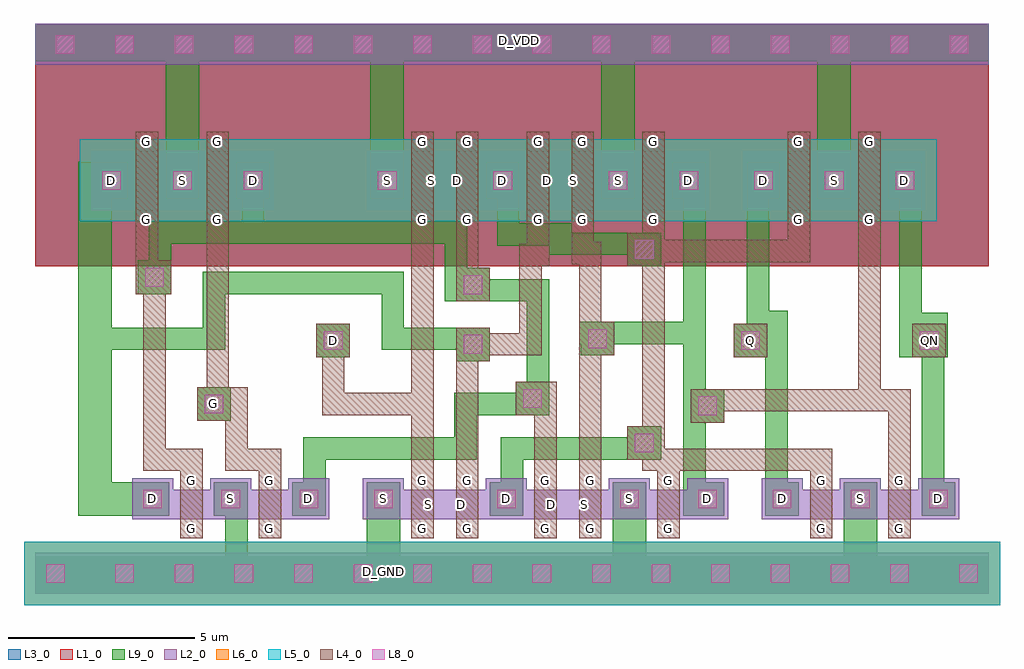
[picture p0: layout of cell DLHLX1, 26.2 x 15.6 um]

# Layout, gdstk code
import gdstk
lib = gdstk.Library(unit=1e-6, precision=1e-09)
def R(c, l, rs):  # rectangles x0, y0, x1, y1
    for r in rs: c.add(gdstk.rectangle(r[:2], r[2:], *l))
def A(c, l, x, y, w, h, nx, ny, dx, dy):  # array of equal rectangles
    R(c, l, [(x+i*dx, y+j*dy, x+i*dx+w, y+j*dy+h) for i in range(nx) for j in range(ny)])
def P(c, l, *ps):  # polygons
    for p in ps: c.add(gdstk.Polygon(p, *l))
L1_0 = (1, 0)
L2_0 = (2, 0)
L3_0 = (3, 0)
L4_0 = (4, 0)
L5_0 = (5, 0)
L6_0 = (6, 0)
L8_0 = (8, 0)
L9_0 = (9, 0)

grid_pmos_end = lib.new_cell('GRID_PMOS_END')
R(grid_pmos_end, L2_0, [(-0.55,-0.55,0.55,0.55)])
R(grid_pmos_end, L5_0, [(-0.85,-0.85,0.85,0.85)])
R(grid_pmos_end, L6_0, [(-0.85,-0.85,0.85,0.85)])
R(grid_pmos_end, L8_0, [(-0.25,-0.25,0.25,0.25)])
R(grid_pmos_end, L9_0, [(-0.55,-0.55,0.55,0.45)])

dlhlx1 = lib.new_cell('DLHLX1')
A(dlhlx1, L1_0, -1.6, 8.8, 1.6, 6.5, 16, 1, 1.6, 0)
R(dlhlx1, L1_0, [(-1.6,8.8,4.4,13.4), (0.3,8.8,6.3,13.4), (5.8,8.8,11.8,13.4), (7,8.8,13,13.4), (8.9,8.8,14.9,13.4), (10.1,8.8,16.1,13.4), (12,8.8,18,13.4), (15.9,8.8,21.9,13.4), (17.8,8.8,23.8,13.4)])
A(dlhlx1, L2_0, -1.6, 0, 1.6, 1.1, 16, 2, 1.6, 14.2)
R(dlhlx1, L2_0, [(1,2,2.1,3.1), (2.1,2,3.1,2.8), (3.1,2,4.2,3.1), (3.1,2,4.2,3.1), (4.2,2,5.2,2.8), (5.2,2,6.3,3.1), (7.2,2,8.3,3.1), (8.3,2,9.3,2.8), (8.4,2,9.5,2.8), (9.3,2,10.4,2.8), (9.5,2,10.5,2.8), (10.5,2,11.6,3.1), (10.5,2,11.6,3.1), (11.6,2,12.6,2.8), (11.7,2,12.8,2.8), (12.6,2,13.7,2.8), (12.8,2,13.8,2.8), (13.8,2,14.9,3.1), (13.8,2,14.9,3.1), (14.9,2,15.9,2.8), (15.9,2,17,3.1), (17.9,2,19,3.1), (19,2,20,2.8), (20,2,21.1,3.1), (20,2,21.1,3.1), (21.1,2,22.1,2.8), (22.1,2,23.2,3.1), (-0.1,10.3,1,11.9), (1,10.3,1.8,11.9), (1.8,10.3,2.9,11.9), (1.8,10.3,2.9,11.9), (2.9,10.3,3.7,11.9), (3.7,10.3,4.8,11.9), (7.3,10.3,8.4,11.9), (8.4,10.3,9.2,11.9), (8.5,10.3,9.6,11.9), (9.2,10.3,10.3,11.9), (9.6,10.3,10.4,11.9), (10.4,10.3,11.5,11.9), (10.4,10.3,11.5,11.9), (11.5,10.3,12.3,11.9), (11.6,10.3,12.7,11.9), (12.3,10.3,13.4,11.9), (12.7,10.3,13.5,11.9), (13.5,10.3,14.6,11.9), (13.5,10.3,14.6,11.9), (14.6,10.3,15.4,11.9), (15.4,10.3,16.5,11.9), (17.4,10.3,18.5,11.9), (18.5,10.3,19.3,11.9), (19.3,10.3,20.4,11.9), (19.3,10.3,20.4,11.9), (20.4,10.3,21.2,11.9), (21.2,10.3,22.3,11.9)])
A(dlhlx1, L3_0, -1.6, 8.8, 1.6, 6.5, 16, 1, 1.6, 0)
R(dlhlx1, L3_0, [(-1.6,8.8,4.4,13.4), (0.3,8.8,6.3,13.4), (5.8,8.8,11.8,13.4), (7,8.8,13,13.4), (8.9,8.8,14.9,13.4), (10.1,8.8,16.1,13.4), (12,8.8,18,13.4), (15.9,8.8,21.9,13.4), (17.8,8.8,23.8,13.4)])
R(dlhlx1, L4_0, [(2.3,1.5,2.9,3.3), (2.3,1.5,2.9,2), (4.4,1.5,5,3.3), (4.4,1.5,5,2), (8.5,1.5,9.1,3.3), (8.5,1.5,9.1,2), (9.7,1.5,10.3,3.3), (9.7,1.5,10.3,2), (11.8,1.5,12.4,3.3), (11.8,1.5,12.4,2), (13,1.5,13.6,3.3), (13,1.5,13.6,2), (15.1,1.5,15.7,3.3), (15.1,1.5,15.7,2), (19.2,1.5,19.8,3.3), (19.2,1.5,19.8,2), (21.3,1.5,21.9,3.3), (21.3,1.5,21.9,2), (8.5,2.5,9.1,10.3), (15.1,2.5,15.7,3.85), (13,2.7,13.6,9.45), (21.3,2.75,21.9,5.5), (2.3,2.8,2.9,3.3), (4.4,2.8,5,3.3), (8.5,2.8,9.1,3.3), (9.7,2.8,10.3,3.3), (11.8,2.8,12.4,3.3), (13,2.8,13.6,3.3), (15.1,2.8,15.7,3.3), (19.2,2.8,19.8,3.3), (21.3,2.8,21.9,3.3), (1.3,3.3,2.9,3.9), (1.3,3.3,1.9,8.8), (14.7,3.3,15.3,6.95), (14.3,3.6,15.2,4.5), (16,4.6,16.9,5.5), (2.75,4.65,3.65,5.55), (3,4.8,3.6,10.4), (11.3,4.8,12.2,5.7), (16,4.9,21.9,5.5), (20.5,4.9,21.1,6.55), (14.7,5.85,15.3,10.3), (20.5,5.9,21.1,10.2), (9.7,6.25,10.6,7.15), (5.95,6.35,6.85,7.25), (17.15,6.35,18.05,7.25), (21.95,6.35,22.85,7.25), (13.05,6.4,13.95,7.3), (9.7,7.85,10.6,8.75), (9.7,7.85,10.3,10.2), (1.1,8.05,1.7,10.1), (1.15,8.05,2.05,8.95), (11.6,8.8,12.2,10.05), (14.3,8.8,15.2,9.7), (12.8,8.85,13.4,9.8), (12.8,9.15,13.4,10.1), (1.1,9.8,1.7,10.3), (1.1,9.8,1.7,12.4), (3,9.8,3.6,10.3), (3,9.8,3.6,12.4), (8.5,9.8,9.1,10.3), (8.5,9.8,9.1,12.4), (9.7,9.8,10.3,10.3), (9.7,9.8,10.3,12.4), (11.6,9.8,12.2,10.3), (11.6,9.8,12.2,12.4), (12.8,9.8,13.4,10.3), (12.8,9.8,13.4,12.4), (14.7,9.8,15.3,10.3), (14.7,9.8,15.3,12.4), (18.6,9.8,19.2,10.3), (18.6,9.8,19.2,12.4), (20.5,9.8,21.1,10.3), (20.5,9.8,21.1,12.4), (1.1,11.9,1.7,12.4), (3,11.9,3.6,12.4), (8.5,11.9,9.1,12.4), (9.7,11.9,10.3,12.4), (11.6,11.9,12.2,12.4), (12.8,11.9,13.4,12.4), (14.7,11.9,15.3,12.4), (18.6,11.9,19.2,12.4), (20.5,11.9,21.1,12.4)])
P(dlhlx1, L4_0, [(15.1,2.2),(15.7,2.2),(15.7,3.3),(19.2,3.3),(19.2,2.7),(19.8,2.7),(19.8,3.9),(15.1,3.9)],
  [(3.5,3.3),(5,3.3),(5,3.9),(4.1,3.9),(4.1,5.55),(3.5,5.55)],
  [(6.1,4.8),(9.1,4.8),(9.1,5.4),(6.7,5.4),(6.7,7.05),(6.1,7.05)],
  [(9.7,2.7),(10.3,2.7),(10.3,6.4),(12,6.4),(12,9.4),(11.4,9.4),(11.4,7),(9.7,7)],
  [(11.4,5.1),(11.8,5.1),(11.8,2.5),(12.4,2.5),(12.4,5.7),(11.4,5.7)],
  [(14.7,8.9),(19.2,8.9),(19.2,10.1),(18.6,10.1),(18.6,9.5),(15.3,9.5),(15.3,10.05),(14.7,10.05)])
A(dlhlx1, L5_0, -1.6, -0.3, 1.6, 1.7, 16, 1, 1.6, 0)
R(dlhlx1, L5_0, [(-0.4,10,3.2,12.2), (1.5,10,5.1,12.2), (5.1,10,7,12.2), (7,10,10.6,12.2), (8.2,10,11.8,12.2), (10.1,10,13.7,12.2), (11.3,10,14.9,12.2), (13.2,10,16.8,12.2), (16.4,10,17.45,12.2), (17.1,10,20.7,12.2), (19,10,22.6,12.2)])
A(dlhlx1, L6_0, -1.6, -0.3, 1.6, 1.7, 16, 1, 1.6, 0)
R(dlhlx1, L6_0, [(-0.4,10,3.2,12.2), (1.5,10,5.1,12.2), (5.1,10,7,12.2), (7,10,10.6,12.2), (8.2,10,11.8,12.2), (10.1,10,13.7,12.2), (11.3,10,14.9,12.2), (13.2,10,16.8,12.2), (16.4,10,17.45,12.2), (17.1,10,20.7,12.2), (19,10,22.6,12.2)])
A(dlhlx1, L8_0, 0.55, 0.3, 0.5, 0.5, 14, 1, 1.6, 0)
A(dlhlx1, L8_0, -1.05, 14.5, 0.5, 0.5, 16, 1, 1.6, 0)
R(dlhlx1, L8_0, [(1.3,2.3,1.8,2.8), (3.4,2.3,3.9,2.8), (3.4,2.3,3.9,2.8), (5.5,2.3,6,2.8), (7.5,2.3,8,2.8), (10.8,2.3,11.3,2.8), (10.8,2.3,11.3,2.8), (14.1,2.3,14.6,2.8), (14.1,2.3,14.6,2.8), (16.2,2.3,16.7,2.8), (18.2,2.3,18.7,2.8), (20.3,2.3,20.8,2.8), (20.3,2.3,20.8,2.8), (22.4,2.3,22.9,2.8), (14.5,3.8,15,4.3), (16.2,4.8,16.7,5.3), (2.95,4.85,3.45,5.35), (11.5,5,12,5.5), (9.9,6.45,10.4,6.95), (6.15,6.55,6.65,7.05), (17.35,6.55,17.85,7.05), (22.15,6.55,22.65,7.05), (13.25,6.6,13.75,7.1), (9.9,8.05,10.4,8.55), (1.35,8.25,1.85,8.75), (14.5,9,15,9.5), (0.2,10.85,0.7,11.35), (2.1,10.85,2.6,11.35), (2.1,10.85,2.6,11.35), (4,10.85,4.5,11.35), (7.6,10.85,8.1,11.35), (10.7,10.85,11.2,11.35), (10.7,10.85,11.2,11.35), (13.8,10.85,14.3,11.35), (13.8,10.85,14.3,11.35), (15.7,10.85,16.2,11.35), (17.7,10.85,18.2,11.35), (19.6,10.85,20.1,11.35), (19.6,10.85,20.1,11.35), (21.5,10.85,22,11.35)])
A(dlhlx1, L9_0, -1.6, 0, 1.6, 1, 16, 2, 1.6, 14.3)
R(dlhlx1, L9_0, [(7.3,0,8.2,3), (7.3,0,14.8,0.9), (13.9,0,14.8,3), (13.9,0,20.3,0.9), (20.1,0,21,3), (7.45,0.3,8.05,0.9), (3.5,0.35,4.1,2.8), (4.05,0.35,7.75,0.95), (1.1,2.1,2,3), (3.2,2.1,4.1,3), (3.2,2.1,4.1,3), (5.3,2.1,6.2,3), (7.3,2.1,8.2,3), (10.6,2.1,11.5,3), (10.6,2.1,11.5,3), (13.9,2.1,14.8,3), (13.9,2.1,14.8,3), (15.8,2.1,16.4,10.9), (16,2.1,16.9,3), (18,2.1,18.9,3), (18,2.1,18.6,7.6), (20.1,2.1,21,3), (20.1,2.1,21,3), (22.2,2.1,23.1,3), (22.2,2.1,22.8,7.55), (5.6,2.4,6.2,4.2), (14.3,3.6,15.2,4.5), (16,4.6,16.9,5.5), (2.75,4.65,3.65,5.55), (2.9,4.8,3.5,5.4), (11.3,4.8,12.2,5.7), (11.6,5.1,12.2,8.2), (9.7,6.25,10.6,7.15), (5.95,6.35,6.85,7.25), (17.15,6.35,18.05,7.25), (21.6,6.35,22.9,7.55), (21.95,6.35,22.85,7.25), (13.05,6.4,13.95,7.3), (6.1,6.5,6.7,7.1), (17.3,6.5,17.9,7.1), (22.1,6.5,22.7,7.1), (13,6.7,16.4,7.3), (17.5,6.8,18.1,11.3), (9.7,7.85,10.6,8.75), (9.75,7.85,12.2,8.45), (1.15,8.05,2.05,8.95), (14.3,8.8,15.2,9.7), (0,10.6,0.9,11.6), (1.9,10.6,2.8,11.6), (1.9,10.6,2.8,11.6), (3.8,10.6,4.7,11.6), (7.4,10.6,8.3,11.6), (10.5,10.6,11.4,11.6), (10.5,10.6,11.4,11.6), (13.6,10.6,14.5,11.6), (13.6,10.6,14.5,11.6), (15.5,10.6,16.4,11.6), (17.5,10.6,18.4,11.6), (19.4,10.6,20.3,11.6), (19.4,10.6,20.3,11.6), (21.3,10.6,22.2,11.6), (7.4,10.75,8.3,15.15), (3.5,14.35,8.3,15.25), (11.1,14.55,11.7,15.15)])
P(dlhlx1, L9_0, [(21.6,6.65),(22.25,6.65),(22.25,7.25),(22.2,7.25),(22.2,10.9),(21.6,10.9)],
  [(10.9,2.4),(11.5,2.4),(11.5,3.6),(15.2,3.6),(15.2,4.2),(10.9,4.2)],
  [(6,3.6),(10.25,3.6),(10.25,4.8),(12.2,4.8),(12.2,5.4),(9.65,5.4),(9.65,4.2),(6,4.2)],
  [(-0.45,2.1),(2,2.1),(2,3),(0.45,3),(0.45,11.6),(-0.45,11.6)],
  [(-0.3,6.55),(3.5,6.55),(3.5,8.05),(7.7,8.05),(7.7,6.55),(10.4,6.55),(10.4,7.15),(8.3,7.15),(8.3,8.65),(2.9,8.65),(2.9,7.15),(-0.3,7.15)],
  [(7.4,14.4),(13.6,14.4),(13.6,10.65),(14.5,10.65),(14.5,15.3),(7.4,15.3)],
  [(1.45,8.35),(2.05,8.35),(2.05,9.4),(4.55,9.4),(4.55,11.05),(3.95,11.05),(3.95,10),(1.45,10)],
  [(3.95,9.4),(9.4,9.4),(9.4,7.85),(10,7.85),(10,10),(3.95,10)],
  [(1.9,10.65),(2.8,10.65),(2.8,14.4),(4.65,14.4),(4.65,15.3),(1.9,15.3)],
  [(13.6,14.4),(19.4,14.4),(19.4,10.65),(20.3,10.65),(20.3,15.3),(13.6,15.3)],
  [(10.8,9.35),(12.2,9.35),(12.2,9.1),(15.1,9.1),(15.1,9.7),(12.8,9.7),(12.8,9.95),(11.4,9.95),(11.4,10.9),(10.8,10.9)])
dlhlx1.add(gdstk.Reference(grid_pmos_end, (23.45,0.55)))
dlhlx1.add(gdstk.Reference(grid_pmos_end, (-1.05,0.55)))
dlhlx1.add(gdstk.Label('D', (12.251,2.401), layer=2, texttype=0))
dlhlx1.add(gdstk.Label('G', (13.3,1.752), layer=4, texttype=0))
dlhlx1.add(gdstk.Label('G', (13.3,3.052), layer=4, texttype=0))
dlhlx1.add(gdstk.Label('S', (14.351,2.551), layer=9, texttype=0))
dlhlx1.add(gdstk.Label('G', (19.5,1.752), layer=4, texttype=0))
dlhlx1.add(gdstk.Label('G', (19.5,3.052), layer=4, texttype=0))
dlhlx1.add(gdstk.Label('S', (20.551,2.551), layer=9, texttype=0))
dlhlx1.add(gdstk.Label('D', (18.451,2.551), layer=9, texttype=0))
dlhlx1.add(gdstk.Label('G', (1.4,10.052), layer=4, texttype=0))
dlhlx1.add(gdstk.Label('G', (1.4,12.152), layer=4, texttype=0))
dlhlx1.add(gdstk.Label('S', (2.351,11.101), layer=9, texttype=0))
dlhlx1.add(gdstk.Label('D', (0.451,11.101), layer=9, texttype=0))
dlhlx1.add(gdstk.Label('G', (15.4,1.752), layer=4, texttype=0))
dlhlx1.add(gdstk.Label('G', (15.4,3.052), layer=4, texttype=0))
dlhlx1.add(gdstk.Label('S', (14.349,2.551), layer=9, texttype=0))
dlhlx1.add(gdstk.Label('D', (16.449,2.551), layer=9, texttype=0))
dlhlx1.add(gdstk.Label('G', (15,10.052), layer=4, texttype=0))
dlhlx1.add(gdstk.Label('G', (15,12.152), layer=4, texttype=0))
dlhlx1.add(gdstk.Label('S', (14.049,11.101), layer=9, texttype=0))
dlhlx1.add(gdstk.Label('D', (15.949,11.101), layer=9, texttype=0))
dlhlx1.add(gdstk.Label('G', (10,1.752), layer=4, texttype=0))
dlhlx1.add(gdstk.Label('G', (10,3.052), layer=4, texttype=0))
dlhlx1.add(gdstk.Label('S', (8.949,2.401), layer=2, texttype=0))
dlhlx1.add(gdstk.Label('D', (11.049,2.551), layer=9, texttype=0))
dlhlx1.add(gdstk.Label('G', (18.9,10.052), layer=4, texttype=0))
dlhlx1.add(gdstk.Label('G', (18.9,12.152), layer=4, texttype=0))
dlhlx1.add(gdstk.Label('S', (19.851,11.101), layer=9, texttype=0))
dlhlx1.add(gdstk.Label('D', (17.951,11.101), layer=9, texttype=0))
dlhlx1.add(gdstk.Label('G', (10,10.052), layer=4, texttype=0))
dlhlx1.add(gdstk.Label('G', (10,12.152), layer=4, texttype=0))
dlhlx1.add(gdstk.Label('S', (9.049,11.101), layer=2, texttype=0))
dlhlx1.add(gdstk.Label('D', (10.949,11.101), layer=9, texttype=0))
dlhlx1.add(gdstk.Label('D', (9.849,2.401), layer=2, texttype=0))
dlhlx1.add(gdstk.Label('G', (8.8,1.752), layer=4, texttype=0))
dlhlx1.add(gdstk.Label('G', (8.8,3.052), layer=4, texttype=0))
dlhlx1.add(gdstk.Label('S', (7.749,2.551), layer=9, texttype=0))
dlhlx1.add(gdstk.Label('G', (11.9,10.052), layer=4, texttype=0))
dlhlx1.add(gdstk.Label('G', (11.9,12.152), layer=4, texttype=0))
dlhlx1.add(gdstk.Label('S', (12.851,11.101), layer=2, texttype=0))
dlhlx1.add(gdstk.Label('D', (10.951,11.101), layer=9, texttype=0))
dlhlx1.add(gdstk.Label('G', (13.1,10.052), layer=4, texttype=0))
dlhlx1.add(gdstk.Label('G', (13.1,12.152), layer=4, texttype=0))
dlhlx1.add(gdstk.Label('S', (14.051,11.101), layer=9, texttype=0))
dlhlx1.add(gdstk.Label('D', (12.151,11.101), layer=2, texttype=0))
dlhlx1.add(gdstk.Label('G', (4.7,1.752), layer=4, texttype=0))
dlhlx1.add(gdstk.Label('G', (4.7,3.052), layer=4, texttype=0))
dlhlx1.add(gdstk.Label('S', (3.649,2.551), layer=9, texttype=0))
dlhlx1.add(gdstk.Label('D', (5.749,2.551), layer=9, texttype=0))
dlhlx1.add(gdstk.Label('G', (21.6,1.752), layer=4, texttype=0))
dlhlx1.add(gdstk.Label('G', (21.6,3.052), layer=4, texttype=0))
dlhlx1.add(gdstk.Label('S', (20.549,2.551), layer=9, texttype=0))
dlhlx1.add(gdstk.Label('D', (22.649,2.551), layer=9, texttype=0))
dlhlx1.add(gdstk.Label('G', (12.1,1.752), layer=4, texttype=0))
dlhlx1.add(gdstk.Label('G', (12.1,3.052), layer=4, texttype=0))
dlhlx1.add(gdstk.Label('S', (13.151,2.401), layer=2, texttype=0))
dlhlx1.add(gdstk.Label('D', (11.051,2.551), layer=9, texttype=0))
dlhlx1.add(gdstk.Label('D', (4.249,11.101), layer=9, texttype=0))
dlhlx1.add(gdstk.Label('S', (2.349,11.101), layer=9, texttype=0))
dlhlx1.add(gdstk.Label('G', (3.3,12.152), layer=4, texttype=0))
dlhlx1.add(gdstk.Label('G', (3.3,10.052), layer=4, texttype=0))
dlhlx1.add(gdstk.Label('G', (20.8,10.052), layer=4, texttype=0))
dlhlx1.add(gdstk.Label('G', (20.8,12.152), layer=4, texttype=0))
dlhlx1.add(gdstk.Label('S', (19.849,11.101), layer=9, texttype=0))
dlhlx1.add(gdstk.Label('D', (21.749,11.101), layer=9, texttype=0))
dlhlx1.add(gdstk.Label('G', (8.8,10.052), layer=4, texttype=0))
dlhlx1.add(gdstk.Label('G', (8.8,12.152), layer=4, texttype=0))
dlhlx1.add(gdstk.Label('S', (7.849,11.101), layer=9, texttype=0))
dlhlx1.add(gdstk.Label('D', (9.749,11.101), layer=2, texttype=0))
dlhlx1.add(gdstk.Label('G', (2.6,1.752), layer=4, texttype=0))
dlhlx1.add(gdstk.Label('G', (2.6,3.052), layer=4, texttype=0))
dlhlx1.add(gdstk.Label('S', (3.651,2.551), layer=9, texttype=0))
dlhlx1.add(gdstk.Label('D', (1.551,2.551), layer=9, texttype=0))
dlhlx1.add(gdstk.Label('Q', (17.6,6.8), layer=50, texttype=0))
dlhlx1.add(gdstk.Label('D_GND', (7.75,0.6), layer=50, texttype=0))
dlhlx1.add(gdstk.Label('G', (3.2,5.1), layer=50, texttype=0))
dlhlx1.add(gdstk.Label('D', (6.4,6.8), layer=50, texttype=0))
dlhlx1.add(gdstk.Label('QN', (22.4,6.8), layer=50, texttype=0))
dlhlx1.add(gdstk.Label('D_VDD', (11.4,14.85), layer=50, texttype=0))

lib.write_gds('DLHLX1.gds')
